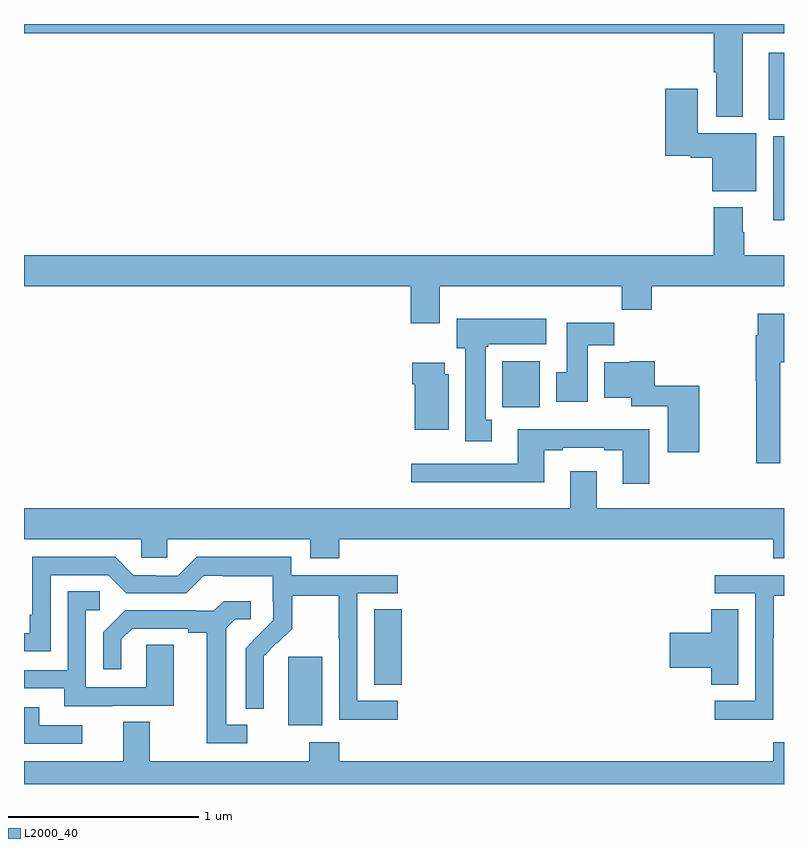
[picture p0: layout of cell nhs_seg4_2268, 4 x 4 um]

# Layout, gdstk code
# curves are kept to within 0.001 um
import gdstk
lib = gdstk.Library(unit=1e-6, precision=1e-09)
def R(c, l, rs):  # rectangles x0, y0, x1, y1
    for r in rs: c.add(gdstk.rectangle(r[:2], r[2:], *l))
def P(c, l, *ps):  # polygons
    for p in ps: c.add(gdstk.Polygon(p, *l))
L2000_40 = (2000, 40)

nhs_seg4_2268 = lib.new_cell('nhs_seg4_2268')
R(nhs_seg4_2268, L2000_40, [(230.39,761.21,230.569,761.571), (230.843,761.422,230.987,761.819), (231.518,762.884,231.715,763.126), (232.943,763.866,233,764.308), (232.919,764.396,233,764.749)])
P(nhs_seg4_2268, L2000_40, [(232.783,764.852),(233,764.852),(233,764.9),(229,764.9),(229,764.852),(232.631,764.852),(232.631,764.647),(232.643,764.647),(232.643,764.411),(232.783,764.411)],
  [(232.855,764.326),(232.546,764.326),(232.546,764.56),(232.376,764.56),(232.376,764.207),(232.509,764.207),(232.509,764.195),(232.622,764.195),(232.622,764.021),(232.855,764.021)],
  [(231.187,763.52),(232.147,763.52),(232.147,763.396),(232.304,763.396),(232.304,763.52),(233,763.52),(233,763.684),(232.791,763.684),(232.791,763.805),(232.783,763.805),(232.783,763.936),(232.631,763.936),(232.631,763.684),(229,763.684),(229,763.52),(231.035,763.52),(231.035,763.326),(231.187,763.326)],
  [(232.981,763.119),(233,763.119),(233,763.375),(232.862,763.375),(232.862,763.262),(232.85,763.262),(232.85,763.022),(232.855,763.022),(232.855,762.588),(232.981,762.588)],
  [(231.463,762.818),(231.43,762.818),(231.43,763.201),(231.444,763.201),(231.444,763.214),(231.748,763.214),(231.748,763.348),(231.278,763.348),(231.278,763.194),(231.323,763.194),(231.323,762.705),(231.463,762.705)],
  [(231.967,763.208),(232.106,763.208),(232.106,763.327),(231.857,763.327),(231.857,763.068),(231.8,763.068),(231.8,762.912),(231.967,762.912)],
  [(232.554,762.997),(232.319,762.997),(232.319,763.126),(232.188,763.126),(232.188,763.12),(232.055,763.12),(232.055,762.932),(232.196,762.932),(232.196,762.887),(232.388,762.887),(232.388,762.645),(232.554,762.645)],
  [(231.235,763.056),(231.214,763.056),(231.214,763.117),(231.044,763.117),(231.044,763.004),(231.056,763.004),(231.056,762.764),(231.235,762.764)],
  [(232.291,762.766),(231.599,762.766),(231.599,762.585),(231.039,762.585),(231.039,762.488),(231.739,762.488),(231.739,762.657),(231.835,762.657),(231.835,762.669),(232.055,762.669),(232.055,762.657),(232.151,762.657),(232.151,762.48),(232.291,762.48)],
  [(230.66,762.188),(232.943,762.188),(232.943,762.089),(233,762.089),(233,762.352),(232.015,762.352),(232.015,762.547),(231.875,762.547),(231.875,762.352),(229,762.352),(229,762.188),(229.617,762.188),(229.617,762.09),(229.755,762.09),(229.755,762.188),(230.507,762.188),(230.507,762.089),(230.66,762.089)],
  [(230.968,761.337),(230.754,761.337),(230.754,761.904),(230.968,761.904),(230.968,762),(230.406,762),(230.406,762.097),(229.909,762.097),(229.809,761.997),(229.694,761.997),(229.694,762),(229.575,762),(229.479,762.096),(229.044,762.096),(229.044,761.791),(229.031,761.791),(229.031,761.694),(229,761.694),(229,761.598),(229.14,761.598),(229.14,762),(229.443,762),(229.539,761.904),(229.854,761.904),(229.947,761.997),(230.047,761.997),(230.047,761.993),(230.31,761.993),(230.31,761.859),(230.312,761.859),(230.312,761.762),(230.166,761.614),(230.166,761.296),(230.262,761.296),(230.261,761.573),(230.331,761.643),(230.334,761.64),(230.411,761.717),(230.411,761.892),(230.656,761.892),(230.656,761.668),(230.658,761.668),(230.658,761.239),(230.968,761.239)],
  [(232.944,761.668),(232.947,761.668),(232.947,761.892),(233,761.892),(233,762),(232.635,762),(232.635,761.904),(232.848,761.904),(232.848,761.337),(232.635,761.337),(232.635,761.239),(232.944,761.239)],
  [(229.465,761.313),(229.789,761.313),(229.789,761.633),(229.644,761.633),(229.644,761.409),(229.326,761.409),(229.326,761.814),(229.399,761.814),(229.399,761.915),(229.23,761.915),(229.23,761.499),(229,761.499),(229,761.403),(229.211,761.403),(229.211,761.309),(229.465,761.309)],
  [(230.176,761.211),(230.065,761.211),(230.065,761.719),(230.112,761.766),(230.194,761.766),(230.194,761.863),(230.05,761.863),(229.998,761.811),(229.904,761.811),(229.904,761.814),(229.532,761.814),(229.416,761.698),(229.416,761.505),(229.513,761.505),(229.513,761.661),(229.57,761.718),(229.865,761.718),(229.865,761.696),(229.961,761.696),(229.961,761.115),(230.176,761.115)],
  [(232.759,761.819),(232.616,761.819),(232.616,761.696),(232.398,761.696),(232.398,761.513),(232.616,761.513),(232.616,761.422),(232.759,761.422)],
  [(229.306,761.208),(229.081,761.208),(229.081,761.304),(229,761.304),(229,761.112),(229.306,761.112)],
  [(233,761.119),(232.943,761.119),(232.943,761.02),(230.66,761.02),(230.66,761.119),(230.5,761.119),(230.5,761.02),(229.663,761.02),(229.663,761.228),(229.523,761.228),(229.523,761.02),(229,761.02),(229,760.9),(233,760.9)])

lib.write_gds('nhs_seg4_2268.gds')
